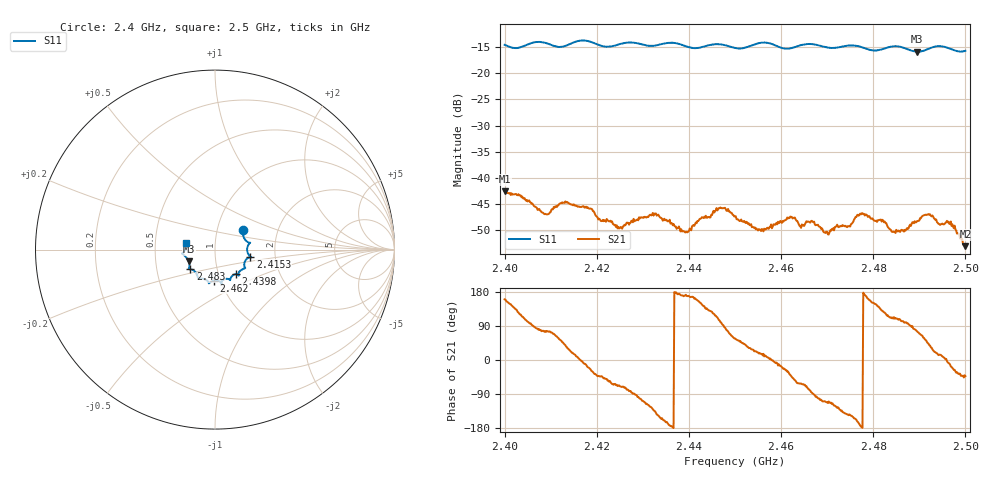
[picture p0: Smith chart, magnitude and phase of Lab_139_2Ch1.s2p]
# Hz S RI R 50
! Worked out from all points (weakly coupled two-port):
!   601 points, 2.4 GHz to 2.5 GHz, reference 50 ohm
!   highest |S21| = -42.55 dB at 2.4 GHz (marker M1); lowest = -53.1 dB at 2.5 GHz (marker M2)
!   lowest |S11| = -15.9 dB at 2.4895 GHz (marker M3), VSWR 1.38, Z = 36.9 - j5.01 ohm
!   |S11| at or under -10 dB: start of sweep to end of sweep
!   S12 and S22 are empty: the file has one direction only
!   S11 on the Smith chart (normalised r, x): 2.4 GHz: 1.33, +0.29; 2.4153 GHz: 1.48, -0.12; 2.4398 GHz: 1.21, -0.34; 2.462 GHz: 0.93, -0.33; 2.483 GHz: 0.74, -0.17; 2.5 GHz: 0.72, +0.06
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2.4e9  0.1546 0.1065  -0.00701 0.00254  0 0  0 0
2.409e9  0.1916 0.0343  0.00121 0.00433  0 0  0 0
2.412667e9  0.1799 -0.0104  0.00401 0.00416  0 0  0 0
2.415333e9  0.1964 -0.0389  0.00532 0.00127  0 0  0 0
2.416667e9  0.2015 -0.0426  0.00525 -0.000269  0 0  0 0
2.425e9  0.1647 -0.0955  0.00118 -0.0031  0 0  0 0
2.433333e9  0.1309 -0.1336  -0.00372 -0.00246  0 0  0 0
2.439833e9  0.1151 -0.1366  -0.00301 0.000575  0 0  0 0
2.4465e9  0.085 -0.17  -0.00137 0.00496  0 0  0 0
2.45e9  0.0647 -0.1625  0.00234 0.00361  0 0  0 0
2.455667e9  0.0376 -0.1925  0.00298 0.000864  0 0  0 0
2.462e9  -0.00504 -0.1731  0.00329 -0.00271  0 0  0 0
2.466667e9  -0.034 -0.1874  0.000274 -0.00388  0 0  0 0
2.469833e9  -0.0463 -0.1711  -0.00111 -0.00284  0 0  0 0
2.4775e9  -0.0973 -0.1491  -0.00458 -0.000241  0 0  0 0
2.483e9  -0.1376 -0.1095  -0.00159 0.00313  0 0  0 0
2.483333e9  -0.14 -0.1093  -0.00139 0.00301  0 0  0 0
2.486167e9  -0.1452 -0.1031  -0.000686 0.00311  0 0  0 0
2.4895e9  -0.1465 -0.0661  0.000944 0.00374  0 0  0 0
2.491833e9  -0.1666 -0.0364  0.00316 0.00313  0 0  0 0
2.496333e9  -0.174 -0.0128  0.00377 -0.000532  0 0  0 0
2.5e9  -0.1596 0.039  0.00164 -0.00151  0 0  0 0
